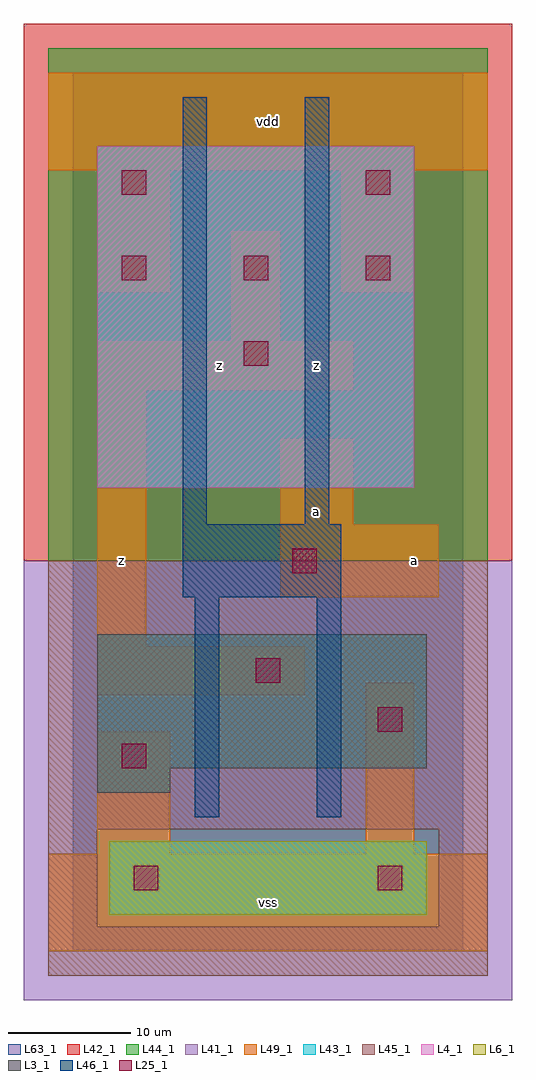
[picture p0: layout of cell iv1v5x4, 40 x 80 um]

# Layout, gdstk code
import gdstk
lib = gdstk.Library(unit=1e-6, precision=1e-09)
def R(c, l, rs):  # rectangles x0, y0, x1, y1
    for r in rs: c.add(gdstk.rectangle(r[:2], r[2:], *l))
def A(c, l, x, y, w, h, nx, ny, dx, dy):  # array of equal rectangles
    R(c, l, [(x+i*dx, y+j*dy, x+i*dx+w, y+j*dy+h) for i in range(nx) for j in range(ny)])
L3_1 = (3, 1)
L4_1 = (4, 1)
L6_1 = (6, 1)
L25_1 = (25, 1)
L41_1 = (41, 1)
L42_1 = (42, 1)
L43_1 = (43, 1)
L44_1 = (44, 1)
L45_1 = (45, 1)
L46_1 = (46, 1)
L49_1 = (49, 1)
L63_1 = (63, 1)

iv1v5x4 = lib.new_cell('iv1v5x4')
R(iv1v5x4, L3_1, [(2,13,8,15), (2,15,29,26)])
R(iv1v5x4, L4_1, [(2,38,28,66)])
R(iv1v5x4, L6_1, [(3,3,29,9), (3,3,29,9)])
A(iv1v5x4, L25_1, 4, 55, 2, 2, 3, 1, 10, 0)
R(iv1v5x4, L25_1, [(5,5,7,7), (25,5,27,7), (4,15,6,17), (25,18,27,20), (15,22,17,24), (18,31,20,33), (14,48,16,50), (4,62,6,64), (24,62,26,64)])
R(iv1v5x4, L41_1, [(-4,-4,36,32)])
R(iv1v5x4, L42_1, [(-4,32,36,76)])
R(iv1v5x4, L43_1, [(3,3,29,9), (2,13,8,15), (2,15,29,26), (2,38,28,66)])
R(iv1v5x4, L44_1, [(2,2,30,10), (-2,32,34,74)])
R(iv1v5x4, L45_1, [(-2,-2,34,2), (-2,2,2,10), (30,2,34,10), (-2,10,34,32)])
R(iv1v5x4, L46_1, [(10,11,12,29), (20,11,22,29), (9,29,22,35), (9,35,11,70), (19,35,21,70)])
R(iv1v5x4, L49_1, [(-2,0,34,8), (2,8,8,18), (24,8,28,22), (2,21,19,25), (2,25,6,46), (17,29,30,35), (17,35,23,42), (2,46,23,50), (13,50,17,59), (2,54,8,64), (22,54,28,64), (-2,64,34,72)])
R(iv1v5x4, L63_1, [(0,0,32,72)])
iv1v5x4.add(gdstk.Label('z', (4,32), layer=49, texttype=1))
iv1v5x4.add(gdstk.Label('z', (12,48), layer=49, texttype=1))
iv1v5x4.add(gdstk.Label('vss', (16,4), layer=49, texttype=1))
iv1v5x4.add(gdstk.Label('a', (20,36), layer=49, texttype=1))
iv1v5x4.add(gdstk.Label('z', (20,48), layer=49, texttype=1))
iv1v5x4.add(gdstk.Label('vdd', (16,68), layer=49, texttype=1))
iv1v5x4.add(gdstk.Label('a', (28,32), layer=49, texttype=1))

lib.write_gds('iv1v5x4.gds')
